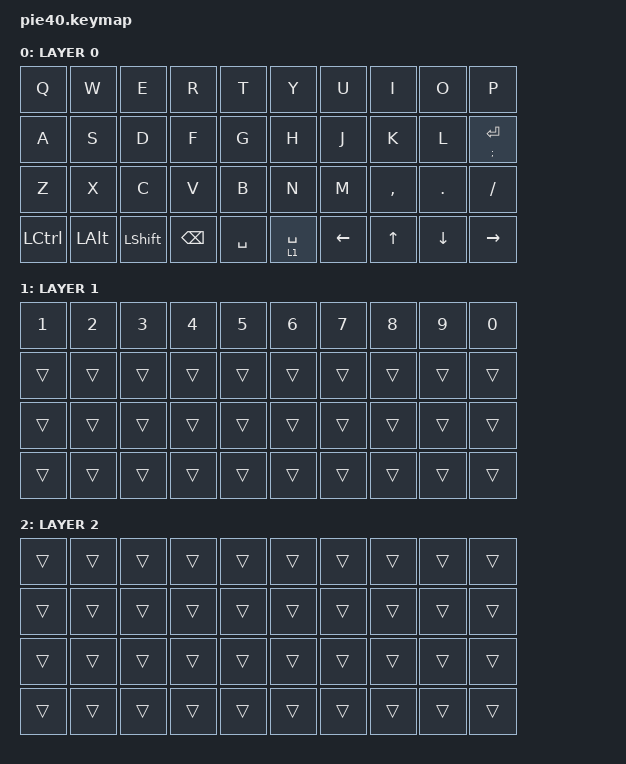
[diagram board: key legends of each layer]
/*
 * Copyright (c) 2020 The ZMK Contributors
 *
 * SPDX-License-Identifier: MIT
 */

#include <behaviors.dtsi>
#include <dt-bindings/zmk/bt.h>
#include <dt-bindings/zmk/keys.h>

/ {
    combos {
        compatible = "zmk,combos";

        BLE_0 {
            bindings = <&bt BT_SEL 0>;
            key-positions = <0 30>;
        };

        BLE_1 {
            bindings = <&bt BT_SEL 1>;
            key-positions = <1 30>;
        };

        BLE_2 {
            bindings = <&bt BT_SEL 2>;
            key-positions = <2 30>;
        };

        BLE_3 {
            bindings = <&bt BT_SEL 3>;
            key-positions = <3 30>;
        };

        BLE_4 {
            bindings = <&bt BT_SEL 4>;
            key-positions = <4 30>;
        };

        BLE_CLR {
            bindings = <&bt BT_CLR>;
            key-positions = <30 31>;
        };

        BLE_NXT {
            bindings = <&bt BT_NXT>;
            key-positions = <30 39>;
        };

        BLE_PRE {
            bindings = <&bt BT_PRV>;
            key-positions = <30 36>;
        };
    };

    behaviors {
        behavior1: behavior1 {
            compatible = "zmk,behavior-hold-tap";
            label = "BEHAVIOR1";
            bindings = <&mo>, <&kp>;

            #binding-cells = <2>;
            hold-trigger-key-positions = <36>;
            tapping-term-ms = <200>;
        };

        behavoir2: behavoir2 {
            compatible = "zmk,behavior-hold-tap";
            label = "BEHAVOIR2";
            bindings = <&kp>, <&kp>;

            #binding-cells = <2>;
            tapping-term-ms = <200>;
            hold-trigger-key-positions = <19>;
        };
    };

    keymap {
        compatible = "zmk,keymap";

        LAYER0 {
            bindings = <
&kp Q      &kp W     &kp E           &kp R          &kp T      &kp Y               &kp U           &kp I         &kp O           &kp P
&kp A      &kp S     &kp D           &kp F          &kp G      &kp H               &kp J           &kp K         &kp L           &behavoir2 SEMICOLON ENTER
&kp Z      &kp X     &kp C           &kp V          &kp B      &kp N               &kp M           &kp COMMA     &kp DOT         &kp FSLH
&kp LCTRL  &kp LALT  &kp LEFT_SHIFT  &kp BACKSPACE  &kp SPACE  &behavior1 1 SPACE  &kp LEFT_ARROW  &kp UP_ARROW  &kp DOWN_ARROW  &kp RIGHT_ARROW
            >;

            display-name = "LAYER 0";
        };

        LAYER1 {
            bindings = <
&kp N1  &kp N2  &kp N3  &kp N4  &kp N5  &kp N6  &kp N7  &kp N8  &kp N9  &kp N0
&trans  &trans  &trans  &trans  &trans  &trans  &trans  &trans  &trans  &trans
&trans  &trans  &trans  &trans  &trans  &trans  &trans  &trans  &trans  &trans
&trans  &trans  &trans  &trans  &trans  &trans  &trans  &trans  &trans  &trans
            >;

            display-name = "LAYER 1";
        };

        LAYER2 {
            bindings = <
&trans  &trans  &trans  &trans  &trans  &trans  &trans  &trans  &trans  &trans
&trans  &trans  &trans  &trans  &trans  &trans  &trans  &trans  &trans  &trans
&trans  &trans  &trans  &trans  &trans  &trans  &trans  &trans  &trans  &trans
&trans  &trans  &trans  &trans  &trans  &trans  &trans  &trans  &trans  &trans
            >;

            display-name = "LAYER 2";
        };

        extra1 {
            status = "reserved";
            display-name = "LAYER 3";
        };

        extra2 {
            status = "reserved";
            display-name = "LAYER 4";
        };

        extra3 {
            status = "reserved";
            display-name = "LAYER 5";
        };

        extra4 {
            status = "reserved";
            display-name = "LAYER 6";
        };
    };
};
